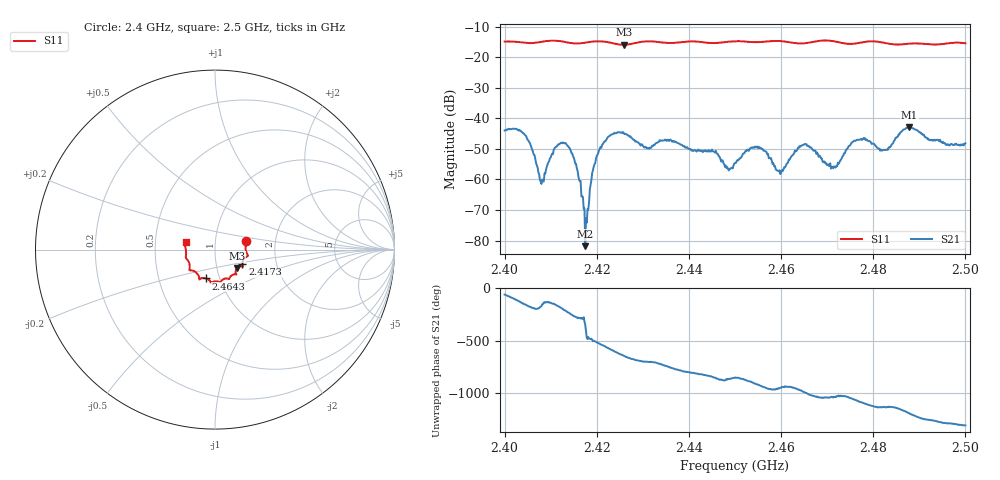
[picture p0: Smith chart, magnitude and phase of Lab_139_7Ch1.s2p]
# Hz S RI R 50
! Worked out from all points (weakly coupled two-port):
!   601 points, 2.4 GHz to 2.5 GHz, reference 50 ohm
!   highest |S21| = -42.87 dB at 2.4878 GHz (marker M1); lowest = -81.8 dB at 2.4175 GHz (marker M2)
!   lowest |S11| = -15.9 dB at 2.4258 GHz (marker M3), VSWR 1.38, Z = 62.3 - j13.2 ohm
!   |S11| at or under -10 dB: start of sweep to end of sweep
!   S12 and S22 are empty: the file has one direction only
!   S11 on the Smith chart (normalised r, x): 2.4 GHz: 1.41, +0.14; 2.4173 GHz: 1.34, -0.23; 2.4643 GHz: 0.86, -0.28; 2.5 GHz: 0.72, +0.06
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2.4e9  0.1733 0.0495  0.00319 -0.00547  0 0  0 0
2.404333e9  0.1712 0.0214  -0.00485 -0.00248  0 0  0 0
2.408e9  0.1778 -0.0206  -0.000833 -0.000144  0 0  0 0
2.411167e9  0.183 -0.0349  -0.00323 -0.00116  0 0  0 0
2.413333e9  0.1712 -0.0425  -0.00307 0.00235  0 0  0 0
2.415167e9  0.1582 -0.0573  -5.59e-05 0.00208  0 0  0 0
2.416667e9  0.1529 -0.0743  0.000119 0.000512  0 0  0 0
2.417333e9  0.1523 -0.0816  0.000251 0.000223  0 0  0 0
2.4175e9  0.1522 -0.0836  7.97e-05 1.42e-05  0 0  0 0
2.420333e9  0.1547 -0.0974  -0.00263 -0.000696  0 0  0 0
2.425833e9  0.1219 -0.1035  0.00151 0.00558  0 0  0 0
2.433333e9  0.1131 -0.137  0.00408 6.31e-05  0 0  0 0
2.45e9  0.0293 -0.1808  -0.0013 -0.00133  0 0  0 0
2.455167e9  0.000394 -0.177  -0.0031 0.00147  0 0  0 0
2.46e9  -0.0236 -0.1824  -0.000777 0.00103  0 0  0 0
2.464333e9  -0.0497 -0.1607  -0.000726 0.00349  0 0  0 0
2.466667e9  -0.076 -0.1597  0.00185 0.00263  0 0  0 0
2.471333e9  -0.0874 -0.1615  0.00126 0.000854  0 0  0 0
2.476167e9  -0.1182 -0.1192  0.00422 0.000753  0 0  0 0
2.483333e9  -0.1407 -0.0898  0.00197 -0.00267  0 0  0 0
2.487833e9  -0.1587 -0.0515  -0.00329 -0.00639  0 0  0 0
2.5e9  -0.1637 0.0425  -0.00235 0.00314  0 0  0 0
